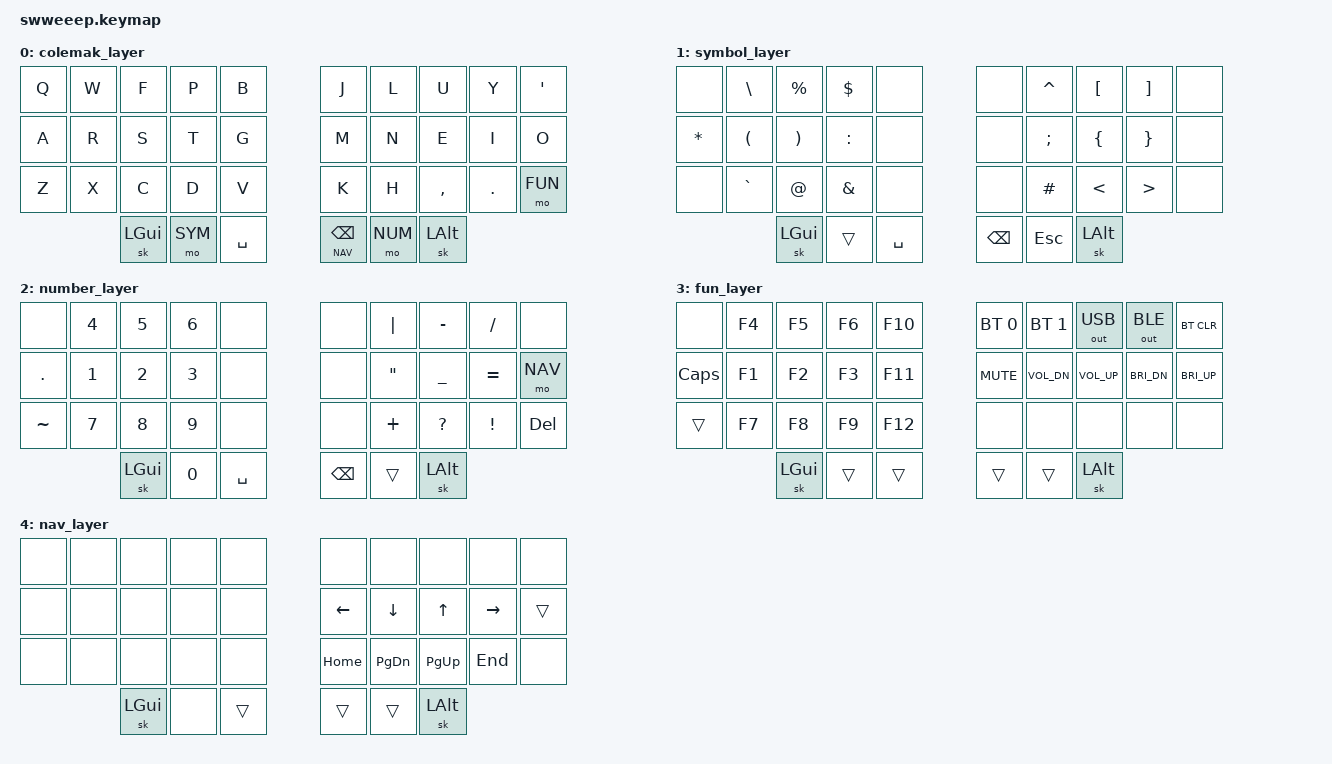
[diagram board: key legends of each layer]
/*
 * Copyright (c) 2020 The ZMK Contributors
 *
 * SPDX-License-Identifier: MIT
 */


#include <behaviors.dtsi>
#include <dt-bindings/zmk/keys.h>
#include <dt-bindings/zmk/bt.h>
#include <dt-bindings/zmk/outputs.h>
#include <dt-bindings/zmk/ext_power.h>

 
#define CMK 0
#define SYM 1
#define NUM 2
#define FUN 3
#define NAV 4

&caps_word {
   continue-list = <UNDERSCORE MINUS BACKSPACE>;
};


/ {

    behaviors {
        skq: sticky_key_quick_release {
            compatible = "zmk,behavior-sticky-key";
            label = "STICKY_KEY_QUICK_RELEASE";
            #binding-cells = <1>;
            bindings = <&kp>;
            release-after-ms = <1000>;
            quick-release;
        };
    };

    combos {
        compatible = "zmk,combos";
        combo_wf_tab {
            layers = <0 1 2 3 4 5>;
            timeout-ms = <50>;
            // W + F
            key-positions = <1 2>;
            bindings = <&kp TAB>;
        };
        combo_uy_del {
            layers = <0 1 2 3 4 5>;
            timeout-ms = <50>;
            // U + Y
            key-positions = <7 8>;
            bindings = <&kp DEL>;
        };
        combo_gm_capsword {
            layers = <0 1 2 3 4 5>;
            timeout-ms = <100>;
            // G + M
            key-positions = <14 15>;
            bindings = <&caps_word>;
        };
        combo_xc_ctrl {
            layers = <0 1 2 3 4 5>;
            timeout-ms = <50>;
            // Z + X
            key-positions = <21 22>;
            bindings = <&sk LCTL>;
        };
        combo_commadot_shift {
            layers = <0 1 2 3 4 5>;
            timeout-ms = <50>;
            // , + . = shift
            key-positions = <27 28>;
            bindings = <&skq LSHFT>;
        };
        combo_cmd {
            layers = <0 1 2 3 4 5>;
            timeout-ms = <50>;
            // SYM + SPC = CMD
            key-positions = <31 32>;
            bindings = <&sk LCMD>;
        };
        combo_opt {
            layers = <0 1 2 3 4 5>;
            timeout-ms = <50>;
            // NUM + ENT = OPT
            key-positions = <33 34>;
            bindings = <&sk LALT>;
        };
        combo_opt_alt {
            layers = <0 1 2 3 4 5>;
            timeout-ms = <50>;
            key-positions = <6 7>;
            bindings = <&sk LALT>;
        };
        combo_cmd_alt {
            layers = <0 1 2 3 4 5>;
            timeout-ms = <50>;
            // NUM + ENT = OPT
            key-positions = <2 3>;
            bindings = <&sk LCMD>;
        };
        combo_ent {
            layers = <0 1 2 3 4 5>;
            timeout-ms = <80>;
            // SPC + BSPC = ENT
            key-positions = <32 33>;
            bindings = <&kp RET>;
        };
    };
};



/ {
        keymap {
                compatible = "zmk,keymap";
                colemak_layer {
// ---------------------------------------------------------------------------
// |     |  Q  |  W  |  F  |  P  |  B  | |  J  |  L  |  U  |  Y  |  '  |     |
// |     |  A  |  R  |  S  |  T  |  G  | |  M  |  N  |  E  |  I  |  O  |     |
// |     |  Z  |  X  |  C  |  D  |  V  | |  K  |  H  |  ,  |  .  |  ?  |     |
//                   |     |-SYM-| SPC | | BSPC |-NUM-|     |
                        bindings = <
   &kp Q &kp W &kp F &kp P &kp B &kp J &kp L   &kp U     &kp Y   &kp SQT
   &kp A &kp R &kp S &kp T &kp G &kp M &kp N   &kp E     &kp I   &kp O    
   &kp Z &kp X &kp C &kp D &kp V &kp K &kp H   &kp COMMA &kp DOT &mo FUN  
            &sk LGUI &mo SYM &kp SPACE &lt NAV BSPC &mo NUM &sk LALT
                        >;
                };
                symbol_layer {
// ---------------------------------------------------------------------------
// |     |     |  \  |  %  |  $  |     | |     |  ^  |  [  |  ]  |     |     |
// |     |  *  |  (  |  )  |  :  |     | |     |  ;  |  {  |  }  |     |     |
// |     |     |  `  |  @  |  &  |     | |     |  #  |  <  |  >  |     |     |
//                   |     |_SYM_| SPACE | | BSPC | ESC |     |
                        bindings = <
   &none    &kp BSLH  &kp PRCNT &kp DLLR  &none &none &kp CARET &kp LBKT &kp RBKT &none  
   &kp STAR &kp LPAR  &kp RPAR  &kp COLON &none &none &kp SEMI  &kp LBRC &kp RBRC &none   
   &none    &kp GRAVE &kp AT    &kp AMPS  &none &none &kp HASH  &kp LT   &kp GT   &none    
                            &sk LGUI &trans &kp SPACE &kp BSPC &kp ESC &sk LALT
                        >;
                };
                number_layer {
// ---------------------------------------------------------------------------
// |     |     |  4  |  5  |  6  |     | |     |  |  |  -  |  /  |     |     |
// |     |  .  |  1  |  2  |  3  |     | |     |  "  |  _  |  =  |-NAV-|     |
// |     |  ~  |  7  |  8  |  9  |     | |     |  +  |  ?  |  !  | DEL |     |
//                   |     |  0  | SPC | | RET |_NUM_|     |
                        bindings = <
   &none     &kp N4 &kp N5 &kp N6 &none &none &kp PIPE &kp MINUS &kp FSLH  &none 
   &kp DOT   &kp N1 &kp N2 &kp N3 &none &none &kp DQT  &kp UNDER &kp EQUAL &mo NAV 
   &kp TILDE &kp N7 &kp N8 &kp N9 &none &none &kp PLUS &kp QMARK  &kp EXCL &kp DEL
                &sk LGUI &kp N0 &kp SPACE &kp BSPC  &trans &sk LALT
                        >;
                };
                fun_layer {
// ---------------------------------------------------------------------------
// |     |     | F 6 | F 5 | F 4 | F10 | | BT0 | BT1 | USB | BLE |BTCLR|     |
// |     |CAPSL| F 3 | F 2 | F 1 | F11 | |VMUTE|VOLDN|VOLUP|BRIDN|BRIUP|     |
// |     |_FUN_| F 9 | F 8 | F 7 | F12 | |     |     |     |     |     |     |
//                   |     |_SYM_| SPC | | BSPC|     |     |
                        bindings = <
   &none    &kp F4 &kp F5 &kp F6 &kp F10    &bt BT_SEL 0 &bt BT_SEL 1  &out OUT_USB &out OUT_BLE &bt BT_CLR   
   &kp CAPS &kp F1 &kp F2 &kp F3 &kp F11    &kp K_MUTE   &kp C_VOL_DN  &kp C_VOL_UP &kp C_BRI_DN &kp C_BRI_UP 
   &trans   &kp F7 &kp F8 &kp F9 &kp F12    &none        &none         &none        &none        &none      
                        &sk LGUI &trans &trans &trans &trans &sk LALT
                        >;
                };
                nav_layer {
// ---------------------------------------------------------------------------
// |     |     |     |     |     |     | |     |     |     |     |     |     |
// |     |     |     |     |     |     | | LFT | DWN | U P |RIGHT|_NAV_|     |
// |     |     |     |     |     |     | | HOM |PG_DN|PG_UP| END |     |     |
//                   |     |     | SPC | | BSPC |_NUM_|    |
                        bindings = <
   &none &none &none &none &none                       &none &none  &none  &none &none
   &none &none &none &none  &none                     &kp LEFT &kp DOWN  &kp UP    &kp RIGHT &trans  
   &none &none &none &none &none                              &kp HOME &kp PG_DN &kp PG_UP &kp END   &none 
                        &sk LGUI &none &trans &trans &trans &sk LALT
                        >;
                };
        };
};
